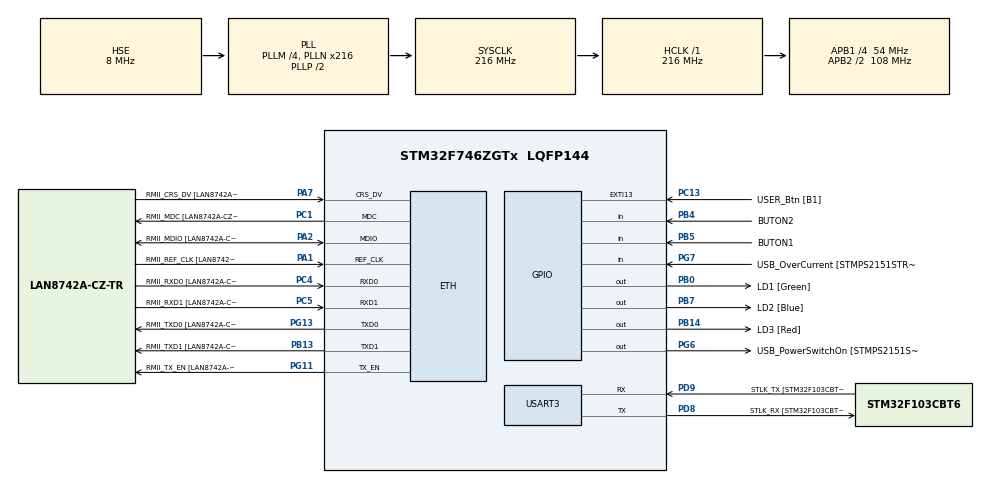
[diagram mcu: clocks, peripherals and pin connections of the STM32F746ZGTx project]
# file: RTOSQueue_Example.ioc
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ETH.MediaInterface=ETH_MEDIA_INTERFACE_RMII
ETH.PHY_Name=LAN8742A_PHY_ADDRESS
ETH.PHY_Value=0
ETH.PhyAddress=0
FREERTOS.INCLUDE_eTaskGetState=1
FREERTOS.INCLUDE_pcTaskGetTaskName=1
FREERTOS.INCLUDE_uxTaskGetStackHighWaterMark=0
FREERTOS.INCLUDE_uxTaskGetStackHighWaterMark2=1
FREERTOS.INCLUDE_xTaskGetCurrentTaskHandle=1
FREERTOS.INCLUDE_xTaskGetHandle=1
FREERTOS.Tasks01=defaultTask,0,128,StartDefaultTask,Default,NULL,Dynamic,NULL,NULL
FREERTOS.configCHECK_FOR_STACK_OVERFLOW=2
FREERTOS.configGENERATE_RUN_TIME_STATS=1
FREERTOS.configUSE_IDLE_HOOK=1
FREERTOS.configUSE_MALLOC_FAILED_HOOK=1
FREERTOS.configUSE_NEWLIB_REENTRANT=1
FREERTOS.configUSE_POSIX_ERRNO=1
FREERTOS.configUSE_STATS_FORMATTING_FUNCTIONS=1
FREERTOS.configUSE_TICK_HOOK=1
FREERTOS.configUSE_TIMERS=1
FREERTOS.configUSE_TRACE_FACILITY=1
Mcu.Family=STM32F7
Mcu.Name=STM32F746ZGTx
Mcu.Package=LQFP144
NVIC.EXTI15_10_IRQn=true\:5\:0\:false\:false\:true\:true\:true\:true\:true
NVIC.PriorityGroup=NVIC_PRIORITYGROUP_4
NVIC.TIM1_UP_TIM10_IRQn=true\:15\:0\:false\:false\:true\:false\:false\:true\:true
NVIC.TimeBase=TIM1_UP_TIM10_IRQn
NVIC.TimeBaseIP=TIM1
PA1.GPIO_Label=RMII_REF_CLK [LAN8742A-CZ-TR_REFCLK0]
PA1.Mode=RMII
PA1.Signal=ETH_REF_CLK
PA13.GPIO_Label=TMS
PA13.Mode=Trace_Asynchronous_SW
PA13.Signal=SYS_JTMS-SWDIO
PA14.GPIO_Label=TCK
PA14.Mode=Trace_Asynchronous_SW
PA14.Signal=SYS_JTCK-SWCLK
PA2.GPIO_Label=RMII_MDIO [LAN8742A-CZ-TR_MDIO]
PA2.Mode=RMII
PA2.Signal=ETH_MDIO
PA7.GPIO_Label=RMII_CRS_DV [LAN8742A-CZ-TR_CRS_DV]
PA7.Mode=RMII
PA7.Signal=ETH_CRS_DV
PB0.GPIO_Label=LD1 [Green]
PB0.Signal=GPIO_Output
PB13.GPIO_Label=RMII_TXD1 [LAN8742A-CZ-TR_TXD1]
PB13.Mode=RMII
PB13.Signal=ETH_TXD1
PB14.GPIO_Label=LD3 [Red]
PB14.Signal=GPIO_Output
PB3.GPIO_Label=SW0
PB3.Mode=Trace_Asynchronous_SW
PB3.Signal=SYS_JTDO-SWO
PB4.GPIO_Label=BUTON2
PB4.GPIO_PuPd=GPIO_PULLDOWN
PB4.Signal=GPIO_Input
PB5.GPIO_Label=BUTON1
PB5.GPIO_PuPd=GPIO_PULLDOWN
PB5.Signal=GPIO_Input
PB7.GPIO_Label=LD2 [Blue]
PB7.Signal=GPIO_Output
PC1.GPIO_Label=RMII_MDC [LAN8742A-CZ-TR_MDC]
PC1.Mode=RMII
PC1.Signal=ETH_MDC
PC13.GPIO_Label=USER_Btn [B1]
PC13.GPIO_PuPd=GPIO_PULLDOWN
PC13.Signal=GPXTI13
PC14/OSC32_IN.Mode=LSE-External-Oscillator
PC14/OSC32_IN.Signal=RCC_OSC32_IN
PC15/OSC32_OUT.Mode=LSE-External-Oscillator
PC15/OSC32_OUT.Signal=RCC_OSC32_OUT
PC4.GPIO_Label=RMII_RXD0 [LAN8742A-CZ-TR_RXD0]
PC4.Mode=RMII
PC4.Signal=ETH_RXD0
PC5.GPIO_Label=RMII_RXD1 [LAN8742A-CZ-TR_RXD1]
PC5.Mode=RMII
PC5.Signal=ETH_RXD1
PD8.GPIO_Label=STLK_RX [STM32F103CBT6_PA3]
PD8.Mode=Asynchronous
PD8.Signal=USART3_TX
PD9.GPIO_Label=STLK_TX [STM32F103CBT6_PA2]
PD9.Mode=Asynchronous
PD9.Signal=USART3_RX
PG11.GPIO_Label=RMII_TX_EN [LAN8742A-CZ-TR_TXEN]
PG11.Mode=RMII
PG11.Signal=ETH_TX_EN
PG13.GPIO_Label=RMII_TXD0 [LAN8742A-CZ-TR_TXD0]
PG13.Mode=RMII
PG13.Signal=ETH_TXD0
PG6.GPIO_Label=USB_PowerSwitchOn [STMPS2151STR_EN]
PG6.Signal=GPIO_Output
PG7.GPIO_Label=USB_OverCurrent [STMPS2151STR_FAULT]
PG7.Signal=GPIO_Input
PH0/OSC_IN.GPIO_Label=MCO [STM32F103CBT6_PA8]
PH0/OSC_IN.Mode=HSE-External-Clock-Source
PH0/OSC_IN.Signal=RCC_OSC_IN
PH1/OSC_OUT.Mode=HSE-External-Clock-Source
PH1/OSC_OUT.Signal=RCC_OSC_OUT
ProjectManager.HeapSize=0x200
ProjectManager.StackSize=0x400
ProjectManager.TargetToolchain=STM32CubeIDE
RCC.48MHZClocksFreq_Value=24000000
RCC.AHBFreq_Value=216000000
RCC.APB1CLKDivider=RCC_HCLK_DIV4
RCC.APB1Freq_Value=54000000
RCC.APB1TimFreq_Value=108000000
RCC.APB2CLKDivider=RCC_HCLK_DIV2
RCC.APB2Freq_Value=108000000
RCC.APB2TimCLKDivider=1
RCC.APB2TimFreq_Value=108000000
RCC.CortexFreq_Value=216000000
RCC.HCLKFreq_Value=216000000
RCC.HSE_VALUE=8000000
RCC.HSI_VALUE=16000000
RCC.PLLM=4
RCC.PLLMUL=RCC_PLL_MUL9
RCC.PLLN=216
RCC.PLLQ=9
RCC.PLLSourceVirtual=RCC_PLLSOURCE_HSE
RCC.PRESCALERUSB=RCC_USBCLKSOURCE_PLL_DIV1_5
RCC.SYSCLKFreq_VALUE=216000000
RCC.SYSCLKSource=RCC_SYSCLKSOURCE_PLLCLK
RCC.SYSCLKSourceVirtual=RCC_SYSCLKSOURCE_PLLCLK
RCC.USBFreq_Value=48000000
RCC.VCOOutputFreq_Value=432000000
USART3.VirtualMode-Asynchronous=VM_ASYNC
VP_FREERTOS_VS_CMSIS_V1.Mode=CMSIS_V1
VP_SYS_VS_tim1.Mode=TIM1
board=NUCLEO-F746ZG

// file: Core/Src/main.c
/* USER CODE BEGIN Header */
/**
  ******************************************************************************
  * @file           : main.c
  * @brief          : Main program body
  ******************************************************************************
  * @attention
  *
  * Copyright (c) 2022 STMicroelectronics.
  * All rights reserved.
  *
  * This software is licensed under terms that can be found in the LICENSE file
  * in the root directory of this software component.
  * If no LICENSE file comes with this software, it is provided AS-IS.
  *
  ******************************************************************************
  */
/* USER CODE END Header */
#include "main.h"
#include "cmsis_os.h"

/* USER CODE BEGIN Includes */
#include "stdio.h"
#include "stdlib.h"  /*For malloc function*/
#include "retarget.h"
#include "qpc.h"
#include "string.h"
#include "stdbool.h"

/* USER CODE END Includes */

/* USER CODE BEGIN PTD */

static UBaseType_t uxHighWaterMarkTask1;
static UBaseType_t uxHighWaterMarkTask2;

#define STACK_SIZE 260
StackType_t xStack[STACK_SIZE],xStack2[STACK_SIZE];
StaticTask_t xTaskBuffer,xTaskBuffer2;

typedef uint16_t Signal; /* event signal */

enum ReservedSignals {
    INIT_SIG, /* dispatched to AO before entering event-loop */
    USER_SIG  /* first signal available to the users */
};

enum EventSignals {
	BUTTON_PRESSED_SIG = USER_SIG,
	BUTTON_RELEASED_SIG,
	/********/
};

/* Event base class */
typedef struct {
    Signal sig; /* event signal */
    /* event parameters added in subclasses of Event */
} Event;

typedef struct Active Active;

typedef void (*DispatchHandler)(Active * const me, Event const * const e);

static void Active_EventLoop(void *pdata);

/* Active Object base class */
struct Active {
    uint8_t thread;     /* private thread (the unique uC/OS-II task priority) */
    QueueHandle_t queue;  /* private message queue */
    DispatchHandler dispatch; /* pointer to the dispatch() function */
    /* active object data added in subclasses of Active */
};

typedef struct {
    Event super;       /* inherit Event */
    Active *act;       /* the AO that requested this TimeEvent */
    uint32_t timeout;  /* timeout counter; 0 means not armed */
    uint32_t interval; /* interval for periodic TimeEvent, 0 means one-shot */
} TimeEvent;

typedef struct {
    Active super; /* inherit Active base class */
    /* add private data for the AO... */
    TimeEvent te;
    _Bool isLedOn;
    uint32_t blink_time;
} Button;

/* USER CODE END PTD */

ETH_HandleTypeDef heth;

UART_HandleTypeDef huart3;

osThreadId defaultTaskHandle;

void SystemClock_Config(void);
static void MX_GPIO_Init(void);
static void MX_ETH_Init(void);
static void MX_USART3_UART_Init(void);
void StartDefaultTask(void const * argument);

/* USER CODE BEGIN PFP */

//TaskHandle_t Htask1;
//TaskHandle_t Htask2;
//void Task1(void *arg);
//void Task2(void *arg);

void Active_ctor(Active * const me, DispatchHandler dispatch);

void Active_start(Active * const me,
				  const uint32_t ulStackDepth,
				  UBaseType_t uxPriority,
				  StackType_t * const puxStackBuffer,
				  StaticTask_t * const pxTaskBuffer,
				  Event **queueSto,
				  const UBaseType_t uxQueueLength);

void Active_post(Active * const me, Event const * const e);

/* USER CODE END PFP */

/* USER CODE BEGIN 0 */

//typedef struct {
//	char ucMessageID;
//	char ucData[20];
//}Amessage;

//typedef struct SuperQueue{
//	QueueHandle_t *xQueue1;
//}tag_SuperQueue;

//typedef struct{
////	Amessage Txmsg,Rxmsg;
//	Amessage msg;
//	QueueHandle_t *xQueue1;
//}Sys;

static Event  *xButtonQueue[10];
static Button xButton;

Active *AO_xButton = &xButton.super;

/* USER CODE END 0 */

int main(void)
{
  /* USER CODE BEGIN 1 */
//	static Sys *Sistem;

  /* USER CODE END 1 */

  /* MCU Configuration--------------------------------------------------------*/

  /* Reset of all peripherals, Initializes the Flash interface and the Systick. */
  HAL_Init();

  /* Configure the system clock */
  SystemClock_Config();

  /* Initialize all configured peripherals */
  MX_GPIO_Init();
//  MX_ETH_Init();
  MX_USART3_UART_Init();
  /* USER CODE BEGIN 2 */
  RetargetInit(&huart3);

  /* USER CODE END 2 */

  /* USER CODE BEGIN RTOS_QUEUES */
  /* add queues, ... */

//  Sistem->xQueue1 = xQueueCreate(10,sizeof(Amessage *));
//  if(Sistem->xQueue1 == NULL){ Error_Handler(); }
  /* USER CODE END RTOS_QUEUES */

  /* Create the thread(s) */
  /* definition and creation of defaultTask */
  osThreadDef(defaultTask, StartDefaultTask, osPriorityNormal, 0, 128);
  defaultTaskHandle = osThreadCreate(osThread(defaultTask), NULL);

  /* USER CODE BEGIN RTOS_THREADS */
  /* add threads, ... */
//  	xTaskCreateStatic(Task1,"task1",configMINIMAL_STACK_SIZE*2,(void *)Sistem,1,xStack,&xTaskBuffer);
//    xTaskCreateStatic(Task2,"task2",configMINIMAL_STACK_SIZE,(void *)Sistem,1,xStack2,&xTaskBuffer2);
//  	xTaskCreate(Task1,"task1",configMINIMAL_STACK_SIZE*2,(void *)Sistem,1,NULL);
//    xTaskCreate(Task2,"task2",configMINIMAL_STACK_SIZE*2,(void *)Sistem,1,NULL);
  Active_start(AO_xButton,configMINIMAL_STACK_SIZE,1, xStack,&xTaskBuffer,xButtonQueue,sizeof(xButtonQueue)/sizeof(xButtonQueue[0]));
  /* USER CODE END RTOS_THREADS */

  /* Start scheduler */
  osKernelStart();

  /* We should never get here as control is now taken by the scheduler */
  /* Infinite loop */
  while (1)
  {

  }
}

void SystemClock_Config(void)
{
  RCC_OscInitTypeDef RCC_OscInitStruct = {0};
  RCC_ClkInitTypeDef RCC_ClkInitStruct = {0};

  /** Configure LSE Drive Capability
  */
  HAL_PWR_EnableBkUpAccess();

  /** Configure the main internal regulator output voltage
  */
  __HAL_RCC_PWR_CLK_ENABLE();
  __HAL_PWR_VOLTAGESCALING_CONFIG(PWR_REGULATOR_VOLTAGE_SCALE1);

  /** Initializes the RCC Oscillators according to the specified parameters
  * in the RCC_OscInitTypeDef structure.
  */
  RCC_OscInitStruct.OscillatorType = RCC_OSCILLATORTYPE_HSE;
  RCC_OscInitStruct.HSEState = RCC_HSE_BYPASS;
  RCC_OscInitStruct.PLL.PLLState = RCC_PLL_ON;
  RCC_OscInitStruct.PLL.PLLSource = RCC_PLLSOURCE_HSE;
  RCC_OscInitStruct.PLL.PLLM = 4;
  RCC_OscInitStruct.PLL.PLLN = 216;
  RCC_OscInitStruct.PLL.PLLP = RCC_PLLP_DIV2;
  RCC_OscInitStruct.PLL.PLLQ = 9;
  if (HAL_RCC_OscConfig(&RCC_OscInitStruct) != HAL_OK)
  {
    Error_Handler();
  }

  /** Activate the Over-Drive mode
  */
  if (HAL_PWREx_EnableOverDrive() != HAL_OK)
  {
    Error_Handler();
  }

  /** Initializes the CPU, AHB and APB buses clocks
  */
  RCC_ClkInitStruct.ClockType = RCC_CLOCKTYPE_HCLK|RCC_CLOCKTYPE_SYSCLK
                              |RCC_CLOCKTYPE_PCLK1|RCC_CLOCKTYPE_PCLK2;
  RCC_ClkInitStruct.SYSCLKSource = RCC_SYSCLKSOURCE_PLLCLK;
  RCC_ClkInitStruct.AHBCLKDivider = RCC_SYSCLK_DIV1;
  RCC_ClkInitStruct.APB1CLKDivider = RCC_HCLK_DIV4;
  RCC_ClkInitStruct.APB2CLKDivider = RCC_HCLK_DIV2;

  if (HAL_RCC_ClockConfig(&RCC_ClkInitStruct, FLASH_LATENCY_7) != HAL_OK)
  {
    Error_Handler();
  }
}

static void MX_ETH_Init(void)
{

   static uint8_t MACAddr[6];

  heth.Instance = ETH;
  heth.Init.AutoNegotiation = ETH_AUTONEGOTIATION_ENABLE;
  heth.Init.Speed = ETH_SPEED_100M;
  heth.Init.DuplexMode = ETH_MODE_FULLDUPLEX;
  heth.Init.PhyAddress = LAN8742A_PHY_ADDRESS;
  MACAddr[0] = 0x00;
  MACAddr[1] = 0x80;
  MACAddr[2] = 0xE1;
  MACAddr[3] = 0x00;
  MACAddr[4] = 0x00;
  MACAddr[5] = 0x00;
  heth.Init.MACAddr = &MACAddr[0];
  heth.Init.RxMode = ETH_RXPOLLING_MODE;
  heth.Init.ChecksumMode = ETH_CHECKSUM_BY_HARDWARE;
  heth.Init.MediaInterface = ETH_MEDIA_INTERFACE_RMII;

  if (HAL_ETH_Init(&heth) != HAL_OK)
  {
    Error_Handler();
  }

}

static void MX_USART3_UART_Init(void)
{

  huart3.Instance = USART3;
  huart3.Init.BaudRate = 115200;
  huart3.Init.WordLength = UART_WORDLENGTH_8B;
  huart3.Init.StopBits = UART_STOPBITS_1;
  huart3.Init.Parity = UART_PARITY_NONE;
  huart3.Init.Mode = UART_MODE_TX_RX;
  huart3.Init.HwFlowCtl = UART_HWCONTROL_NONE;
  huart3.Init.OverSampling = UART_OVERSAMPLING_16;
  huart3.Init.OneBitSampling = UART_ONE_BIT_SAMPLE_DISABLE;
  huart3.AdvancedInit.AdvFeatureInit = UART_ADVFEATURE_NO_INIT;
  if (HAL_UART_Init(&huart3) != HAL_OK)
  {
    Error_Handler();
  }

}

static void MX_GPIO_Init(void)
{
  GPIO_InitTypeDef GPIO_InitStruct = {0};

  /* GPIO Ports Clock Enable */
  __HAL_RCC_GPIOC_CLK_ENABLE();
  __HAL_RCC_GPIOH_CLK_ENABLE();
  __HAL_RCC_GPIOA_CLK_ENABLE();
  __HAL_RCC_GPIOB_CLK_ENABLE();
  __HAL_RCC_GPIOD_CLK_ENABLE();
  __HAL_RCC_GPIOG_CLK_ENABLE();

  /*Configure GPIO pin Output Level */
  HAL_GPIO_WritePin(GPIOB, LD1_Pin|LD3_Pin|LD2_Pin, GPIO_PIN_RESET);

  /*Configure GPIO pin Output Level */
  HAL_GPIO_WritePin(USB_PowerSwitchOn_GPIO_Port, USB_PowerSwitchOn_Pin, GPIO_PIN_RESET);

  /*Configure GPIO pin : USER_Btn_Pin */
  GPIO_InitStruct.Pin = USER_Btn_Pin;
  GPIO_InitStruct.Mode = GPIO_MODE_IT_RISING;
  GPIO_InitStruct.Pull = GPIO_PULLDOWN;
  HAL_GPIO_Init(USER_Btn_GPIO_Port, &GPIO_InitStruct);

  /*Configure GPIO pins : LD1_Pin LD3_Pin LD2_Pin */
  GPIO_InitStruct.Pin = LD1_Pin|LD3_Pin|LD2_Pin;
  GPIO_InitStruct.Mode = GPIO_MODE_OUTPUT_PP;
  GPIO_InitStruct.Pull = GPIO_NOPULL;
  GPIO_InitStruct.Speed = GPIO_SPEED_FREQ_LOW;
  HAL_GPIO_Init(GPIOB, &GPIO_InitStruct);

  /*Configure GPIO pin : USB_PowerSwitchOn_Pin */
  GPIO_InitStruct.Pin = USB_PowerSwitchOn_Pin;
  GPIO_InitStruct.Mode = GPIO_MODE_OUTPUT_PP;
  GPIO_InitStruct.Pull = GPIO_NOPULL;
  GPIO_InitStruct.Speed = GPIO_SPEED_FREQ_LOW;
  HAL_GPIO_Init(USB_PowerSwitchOn_GPIO_Port, &GPIO_InitStruct);

  /*Configure GPIO pin : USB_OverCurrent_Pin */
  GPIO_InitStruct.Pin = USB_OverCurrent_Pin;
  GPIO_InitStruct.Mode = GPIO_MODE_INPUT;
  GPIO_InitStruct.Pull = GPIO_NOPULL;
  HAL_GPIO_Init(USB_OverCurrent_GPIO_Port, &GPIO_InitStruct);

  /*Configure GPIO pins : BUTON2_Pin BUTON1_Pin */
  GPIO_InitStruct.Pin = BUTON2_Pin|BUTON1_Pin;
  GPIO_InitStruct.Mode = GPIO_MODE_INPUT;
  GPIO_InitStruct.Pull = GPIO_PULLDOWN;
  HAL_GPIO_Init(GPIOB, &GPIO_InitStruct);

  /* EXTI interrupt init*/
  HAL_NVIC_SetPriority(EXTI15_10_IRQn, 5, 0);
  HAL_NVIC_EnableIRQ(EXTI15_10_IRQn);

}

/* USER CODE BEGIN 4 */

void Active_start(Active * const me,
				  const uint32_t ulStackDepth,
				  UBaseType_t uxPriority,
				  StackType_t * const puxStackBuffer,
				  StaticTask_t * const pxTaskBuffer,
				  Event **queueSto,
				  const UBaseType_t uxQueueLength
				  ){

	me->queue = xQueueCreate(uxQueueLength,sizeof((void**)queueSto));
	me->thread = uxPriority;
	xTaskCreateStatic(Active_EventLoop,"x", ulStackDepth,(void*)me,me->thread, puxStackBuffer, pxTaskBuffer);
}

/*..........................................................................*/
/* Thread function for all Active Objects (uC/OS-II task signature) */
static void Active_EventLoop(void *pdata) {
    Active *me = (Active *)pdata; /* the AO instance "me" */

    /* event loop ("message pump") */
    while (1) {
        Event *e; /* pointer to event object ("message") */

        /*new*/
        if(xQueueReceive(me->queue,(void *)&e,(TickType_t)0) == pdPASS){
			/* dispatch event to the active object 'me' */
//			(*me->dispatch)(me, e); /* NO BLOCKING! */
        	__NOP();
        	printf("Basildi\r\n");
        }

    }
}

//void Task1(void *arg){
//
//
//
//    /* Inspect our own high water mark on entering the task. */
//	uxHighWaterMarkTask1 = uxTaskGetStackHighWaterMark2( NULL );
//	Sys *Task1Sistem = (Sys *)arg;
//
//	while(1){
//		if(xQueueReceive((QueueHandle_t)Task1Sistem->xQueue1,(void *)&Task1Sistem->msg.ucData,portMAX_DELAY) == pdPASS){
//			printf("%s\r\n",Task1Sistem->msg.ucData);
//			__NOP();
//		}
//
//		uxHighWaterMarkTask1 = uxTaskGetStackHighWaterMark2( NULL );
//	}
//}
//
//void Task2(void *arg){
//
//    /* Inspect our own high water mark on entering the task. */
//	uxHighWaterMarkTask2 = uxTaskGetStackHighWaterMark2( NULL );
//	Sys *Task2Sistem = (Sys *)arg;
//
//	while(1){
//
//		sprintf(Task2Sistem->msg.ucData,"%s","XYZWQJDSFGS");
//	    xQueueSend((QueueHandle_t)Task2Sistem->xQueue1,(void *)&Task2Sistem->msg.ucData,(TickType_t)10);
//		vTaskDelay(10);
//		uxHighWaterMarkTask2 = uxTaskGetStackHighWaterMark2( NULL );
//
//	}
//}

void vApplicationStackOverflowHook( TaskHandle_t xTask,
                                    signed char *pcTaskName ){
	__NOP();
	Error_Handler();
}

void vApplicationTickHook( void ){
	__NOP();
}

void vApplicationMallocFailedHook( void ){
	__NOP();
	Error_Handler();
}

/**
  * @brief  EXTI line detection callbacks.
  * @param  GPIO_Pin Specifies the pins connected EXTI line
  * @retval None
  */
void HAL_GPIO_EXTI_Callback(uint16_t GPIO_Pin)
{
  /* Prevent unused argument(s) compilation warning */
  UNUSED(GPIO_Pin);
  static Event const buttonPressedEvt = {BUTTON_PRESSED_SIG};
  Active_post(AO_xButton, &buttonPressedEvt);
}

void Active_post(Active * const me, Event const * const e) {
	BaseType_t xQueueWoken = pdFALSE;
    xQueueSendFromISR(me->queue, (void *)&e,&xQueueWoken);
}

/* USER CODE END 4 */

void StartDefaultTask(void const * argument)
{
  for(;;)
  {
    osDelay(1);
  }
}

void HAL_TIM_PeriodElapsedCallback(TIM_HandleTypeDef *htim)
{
  if (htim->Instance == TIM1) {
    HAL_IncTick();
  }
}

void Error_Handler(void)
{
  __disable_irq();
  while (1)
  {
  }
}

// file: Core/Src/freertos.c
/* USER CODE BEGIN Header */
/**
  ******************************************************************************
  * File Name          : freertos.c
  * Description        : Code for freertos applications
  ******************************************************************************
  * @attention
  *
  * Copyright (c) 2022 STMicroelectronics.
  * All rights reserved.
  *
  * This software is licensed under terms that can be found in the LICENSE file
  * in the root directory of this software component.
  * If no LICENSE file comes with this software, it is provided AS-IS.
  *
  ******************************************************************************
  */
/* USER CODE END Header */

#include "FreeRTOS.h"
#include "task.h"
#include "main.h"

/* GetIdleTaskMemory prototype (linked to static allocation support) */
void vApplicationGetIdleTaskMemory( StaticTask_t **ppxIdleTaskTCBBuffer, StackType_t **ppxIdleTaskStackBuffer, uint32_t *pulIdleTaskStackSize );

/* GetTimerTaskMemory prototype (linked to static allocation support) */
void vApplicationGetTimerTaskMemory( StaticTask_t **ppxTimerTaskTCBBuffer, StackType_t **ppxTimerTaskStackBuffer, uint32_t *pulTimerTaskStackSize );

/* Hook prototypes */
void configureTimerForRunTimeStats(void);
unsigned long getRunTimeCounterValue(void);
void vApplicationIdleHook(void);
void vApplicationTickHook(void);
void vApplicationStackOverflowHook(xTaskHandle xTask, signed char *pcTaskName);
void vApplicationMallocFailedHook(void);

/* USER CODE BEGIN 1 */
/* Functions needed when configGENERATE_RUN_TIME_STATS is on */
__weak void configureTimerForRunTimeStats(void)
{

}

__weak unsigned long getRunTimeCounterValue(void)
{
return 0;
}
/* USER CODE END 1 */

/* USER CODE BEGIN 2 */
__weak void vApplicationIdleHook( void )
{
   /* vApplicationIdleHook() will only be called if configUSE_IDLE_HOOK is set
   to 1 in FreeRTOSConfig.h. It will be called on each iteration of the idle
   task. It is essential that code added to this hook function never attempts
   to block in any way (for example, call xQueueReceive() with a block time
   specified, or call vTaskDelay()). If the application makes use of the
   vTaskDelete() API function (as this demo application does) then it is also
   important that vApplicationIdleHook() is permitted to return to its calling
   function, because it is the responsibility of the idle task to clean up
   memory allocated by the kernel to any task that has since been deleted. */
}
/* USER CODE END 2 */

/* USER CODE BEGIN 3 */
__weak void vApplicationTickHook( void )
{
   /* This function will be called by each tick interrupt if
   configUSE_TICK_HOOK is set to 1 in FreeRTOSConfig.h. User code can be
   added here, but the tick hook is called from an interrupt context, so
   code must not attempt to block, and only the interrupt safe FreeRTOS API
   functions can be used (those that end in FromISR()). */
}
/* USER CODE END 3 */

/* USER CODE BEGIN 4 */
__weak void vApplicationStackOverflowHook(xTaskHandle xTask, signed char *pcTaskName)
{
   /* Run time stack overflow checking is performed if
   configCHECK_FOR_STACK_OVERFLOW is defined to 1 or 2. This hook function is
   called if a stack overflow is detected. */
}
/* USER CODE END 4 */

/* USER CODE BEGIN 5 */
__weak void vApplicationMallocFailedHook(void)
{
   /* vApplicationMallocFailedHook() will only be called if
   configUSE_MALLOC_FAILED_HOOK is set to 1 in FreeRTOSConfig.h. It is a hook
   function that will get called if a call to pvPortMalloc() fails.
   pvPortMalloc() is called internally by the kernel whenever a task, queue,
   timer or semaphore is created. It is also called by various parts of the
   demo application. If heap_1.c or heap_2.c are used, then the size of the
   heap available to pvPortMalloc() is defined by configTOTAL_HEAP_SIZE in
   FreeRTOSConfig.h, and the xPortGetFreeHeapSize() API function can be used
   to query the size of free heap space that remains (although it does not
   provide information on how the remaining heap might be fragmented). */
}
/* USER CODE END 5 */

/* USER CODE BEGIN GET_IDLE_TASK_MEMORY */
static StaticTask_t xIdleTaskTCBBuffer;
static StackType_t xIdleStack[configMINIMAL_STACK_SIZE];

void vApplicationGetIdleTaskMemory( StaticTask_t **ppxIdleTaskTCBBuffer, StackType_t **ppxIdleTaskStackBuffer, uint32_t *pulIdleTaskStackSize )
{
  *ppxIdleTaskTCBBuffer = &xIdleTaskTCBBuffer;
  *ppxIdleTaskStackBuffer = &xIdleStack[0];
  *pulIdleTaskStackSize = configMINIMAL_STACK_SIZE;
  /* place for user code */
}
/* USER CODE END GET_IDLE_TASK_MEMORY */

/* USER CODE BEGIN GET_TIMER_TASK_MEMORY */
static StaticTask_t xTimerTaskTCBBuffer;
static StackType_t xTimerStack[configTIMER_TASK_STACK_DEPTH];

void vApplicationGetTimerTaskMemory( StaticTask_t **ppxTimerTaskTCBBuffer, StackType_t **ppxTimerTaskStackBuffer, uint32_t *pulTimerTaskStackSize )
{
  *ppxTimerTaskTCBBuffer = &xTimerTaskTCBBuffer;
  *ppxTimerTaskStackBuffer = &xTimerStack[0];
  *pulTimerTaskStackSize = configTIMER_TASK_STACK_DEPTH;
  /* place for user code */
}
/* USER CODE END GET_TIMER_TASK_MEMORY */
